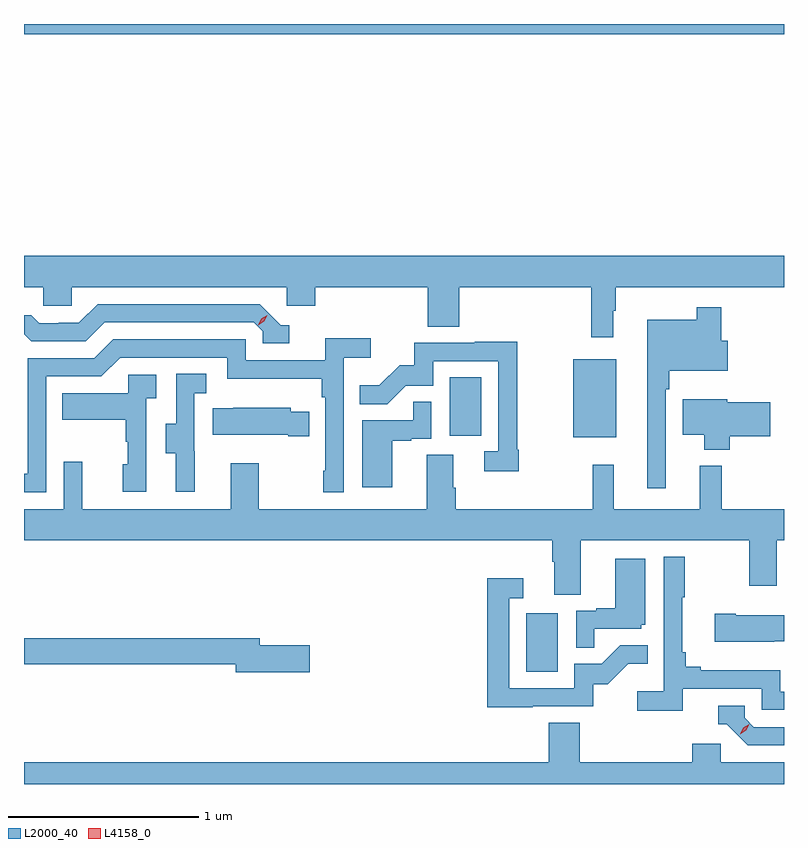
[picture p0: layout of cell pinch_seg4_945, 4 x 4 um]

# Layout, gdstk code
import gdstk
lib = gdstk.Library(unit=1e-6, precision=1e-09)
def R(c, l, rs):  # rectangles x0, y0, x1, y1
    for r in rs: c.add(gdstk.rectangle(r[:2], r[2:], *l))
def P(c, l, *ps):  # polygons
    for p in ps: c.add(gdstk.Polygon(p, *l))
L2000_40 = (2000, 40)
L4158_0 = (4158, 0)

pinch_seg4_945 = lib.new_cell('pinch_seg4_945')
R(pinch_seg4_945, L2000_40, [(894.368,768.156,894.532,768.463), (894.614,769.391,894.841,769.801), (893.966,769.398,894.13,769.705), (891.724,771.512,895.724,771.565)])
P(pinch_seg4_945, L2000_40, [(894.826,770.057),(894.838,770.057),(894.838,770.18),(895.724,770.18),(895.724,770.344),(891.724,770.344),(891.724,770.18),(891.825,770.18),(891.825,770.082),(891.975,770.082),(891.975,770.18),(893.106,770.18),(893.106,770.082),(893.258,770.082),(893.258,770.18),(893.849,770.18),(893.849,769.972),(894.014,769.972),(894.014,770.18),(894.709,770.18),(894.709,769.917),(894.826,769.917)],
  [(893.119,769.98),(893.076,769.98),(892.965,770.091),(892.112,770.091),(892.013,769.992),(891.906,769.992),(891.906,769.989),(891.803,769.989),(891.761,770.032),(891.724,770.032),(891.724,769.933),(891.761,769.896),(892.05,769.896),(892.149,769.995),(892.932,769.995),(892.98,769.947),(892.98,769.884),(893.119,769.884)],
  [(895.101,769.643),(895.121,769.643),(895.121,769.739),(895.429,769.739),(895.429,769.897),(895.394,769.897),(895.394,770.074),(895.266,770.074),(895.266,770.008),(895.004,770.008),(895.004,769.122),(895.101,769.122)],
  [(891.84,769.71),(892.131,769.71),(892.23,769.809),(892.794,769.809),(892.794,769.697),(893.29,769.697),(893.29,769.601),(893.31,769.601),(893.31,769.213),(893.298,769.213),(893.298,769.101),(893.406,769.101),(893.406,769.808),(893.548,769.808),(893.548,769.91),(893.309,769.91),(893.309,769.794),(892.89,769.794),(892.89,769.905),(892.193,769.905),(892.094,769.806),(891.744,769.806),(891.744,769.197),(891.724,769.197),(891.724,769.101),(891.84,769.101)],
  [(894.328,769.324),(894.32,769.324),(894.32,769.892),(894.097,769.892),(894.097,769.887),(893.779,769.887),(893.779,769.77),(893.702,769.77),(893.595,769.663),(893.491,769.663),(893.491,769.564),(893.635,769.564),(893.733,769.662),(893.877,769.662),(893.877,769.791),(894.219,769.791),(894.219,769.317),(894.147,769.317),(894.147,769.212),(894.328,769.212)],
  [(892.622,769.317),(892.62,769.317),(892.62,769.621),(892.684,769.621),(892.684,769.724),(892.524,769.724),(892.524,769.461),(892.469,769.461),(892.469,769.306),(892.523,769.306),(892.523,769.104),(892.622,769.104)],
  [(892.368,769.595),(892.42,769.595),(892.42,769.719),(892.272,769.719),(892.272,769.621),(891.925,769.621),(891.925,769.481),(892.26,769.481),(892.26,769.367),(892.27,769.367),(892.27,769.248),(892.244,769.248),(892.244,769.104),(892.368,769.104)],
  [(895.439,769.396),(895.651,769.396),(895.651,769.574),(895.426,769.574),(895.426,769.591),(895.19,769.591),(895.19,769.403),(895.304,769.403),(895.304,769.325),(895.439,769.325)],
  [(893.662,769.371),(893.762,769.371),(893.762,769.383),(893.868,769.383),(893.868,769.577),(893.773,769.577),(893.773,769.479),(893.504,769.479),(893.504,769.128),(893.662,769.128)],
  [(893.225,769.525),(893.127,769.525),(893.127,769.546),(892.825,769.546),(892.825,769.543),(892.717,769.543),(892.717,769.403),(893.114,769.403),(893.114,769.396),(893.225,769.396)],
  [(894.655,768.848),(895.54,768.848),(895.54,768.609),(895.687,768.609),(895.687,768.848),(895.724,768.848),(895.724,769.012),(895.397,769.012),(895.397,769.24),(895.28,769.24),(895.28,769.012),(894.827,769.012),(894.827,769.246),(894.717,769.246),(894.717,769.012),(893.996,769.012),(893.996,769.124),(893.983,769.124),(893.983,769.298),(893.843,769.298),(893.843,769.012),(892.959,769.012),(892.959,769.252),(892.811,769.252),(892.811,769.012),(892.031,769.012),(892.031,769.261),(891.933,769.261),(891.933,769.012),(891.724,769.012),(891.724,768.848),(894.503,768.848),(894.503,768.736),(894.515,768.736),(894.515,768.562),(894.655,768.562)],
  [(895.19,768.066),(895.608,768.066),(895.608,767.955),(895.724,767.955),(895.724,768.051),(895.704,768.051),(895.704,768.163),(895.285,768.163),(895.285,768.182),(895.208,768.182),(895.208,768.259),(895.189,768.259),(895.189,768.547),(895.201,768.547),(895.201,768.76),(895.092,768.76),(895.092,768.052),(894.951,768.052),(894.951,767.95),(895.19,767.95)],
  [(894.725,768.381),(894.972,768.381),(894.972,768.402),(894.994,768.402),(894.994,768.751),(894.836,768.751),(894.836,768.49),(894.737,768.49),(894.737,768.477),(894.63,768.477),(894.63,768.283),(894.725,768.283)],
  [(894.401,767.973),(894.72,767.973),(894.72,768.09),(894.796,768.09),(894.903,768.197),(895.007,768.197),(895.007,768.296),(894.863,768.296),(894.765,768.198),(894.621,768.198),(894.621,768.069),(894.279,768.069),(894.279,768.543),(894.352,768.543),(894.352,768.649),(894.163,768.649),(894.163,767.968),(894.401,767.968)],
  [(895.673,768.317),(895.724,768.317),(895.724,768.454),(895.471,768.454),(895.471,768.462),(895.359,768.462),(895.359,768.314),(895.673,768.314)],
  [(893.227,768.296),(892.966,768.296),(892.966,768.332),(891.724,768.332),(891.724,768.196),(892.838,768.196),(892.838,768.154),(893.227,768.154)],
  [(895.724,767.865),(895.566,767.865),(895.518,767.913),(895.518,767.976),(895.379,767.976),(895.379,767.88),(895.422,767.88),(895.533,767.769),(895.724,767.769)],
  [(895.724,767.68),(895.392,767.68),(895.392,767.778),(895.241,767.778),(895.241,767.68),(894.65,767.68),(894.65,767.888),(894.485,767.888),(894.485,767.68),(891.724,767.68),(891.724,767.565),(895.724,767.565)])
P(pinch_seg4_945, L4158_0, [(895.494,767.828),(895.494,767.828),(895.51,767.86),(895.541,767.879),(895.541,767.879),(895.541,767.879),(895.525,767.847),(895.494,767.828)],
  [(892.957,769.98),(892.957,769.981),(892.973,770.013),(893.004,770.032),(893.004,770.032),(893.004,770.032),(892.988,770),(892.957,769.98)])

lib.write_gds('pinch_seg4_945.gds')
